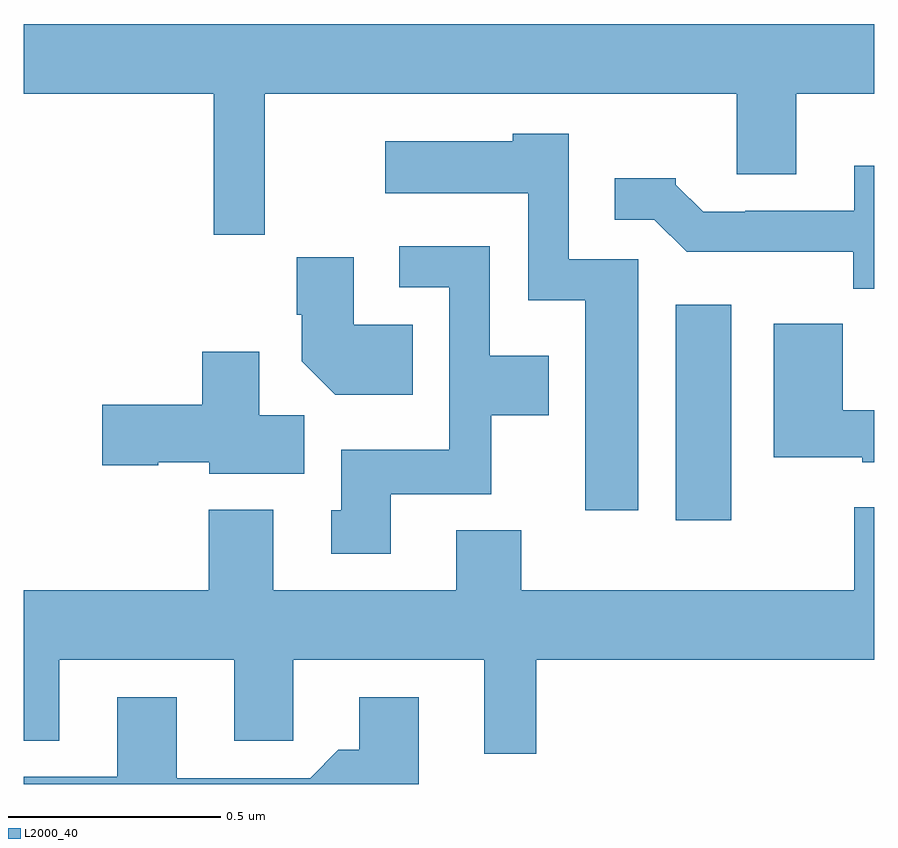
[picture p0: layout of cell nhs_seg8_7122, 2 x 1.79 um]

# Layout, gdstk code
import gdstk
lib = gdstk.Library(unit=1e-6, precision=1e-09)
def R(c, l, rs):  # rectangles x0, y0, x1, y1
    for r in rs: c.add(gdstk.rectangle(r[:2], r[2:], *l))
def P(c, l, *ps):  # polygons
    for p in ps: c.add(gdstk.Polygon(p, *l))
L2000_40 = (2000, 40)

nhs_seg8_7122 = lib.new_cell('nhs_seg8_7122')
R(nhs_seg8_7122, L2000_40, [(207.533,1091.52,207.664,1092.028)])
P(nhs_seg8_7122, L2000_40, [(206.567,1092.524),(207.677,1092.524),(207.677,1092.334),(207.817,1092.334),(207.817,1092.524),(208,1092.524),(208,1092.688),(206,1092.688),(206,1092.524),(206.446,1092.524),(206.446,1092.192),(206.567,1092.192)],
  [(207.445,1092.135),(207.282,1092.135),(207.282,1092.43),(207.15,1092.43),(207.15,1092.412),(206.85,1092.412),(206.85,1092.29),(207.186,1092.29),(207.186,1092.038),(207.32,1092.038),(207.32,1091.544),(207.445,1091.544)],
  [(208,1092.355),(207.953,1092.355),(207.953,1092.249),(207.697,1092.249),(207.697,1092.246),(207.598,1092.246),(207.534,1092.31),(207.534,1092.325),(207.39,1092.325),(207.39,1092.228),(207.483,1092.228),(207.559,1092.152),(207.951,1092.152),(207.951,1092.065),(208,1092.065)],
  [(206.863,1091.582),(207.099,1091.582),(207.099,1091.768),(207.235,1091.768),(207.235,1091.908),(207.096,1091.908),(207.096,1092.165),(206.883,1092.165),(206.883,1092.069),(207,1092.069),(207,1091.686),(206.747,1091.686),(206.747,1091.544),(206.723,1091.544),(206.723,1091.442),(206.863,1091.442)],
  [(206.915,1091.98),(206.776,1091.98),(206.776,1092.139),(206.642,1092.139),(206.642,1092.004),(206.654,1092.004),(206.654,1091.894),(206.732,1091.816),(206.915,1091.816)],
  [(208,1091.779),(207.926,1091.779),(207.926,1091.983),(207.764,1091.983),(207.764,1091.669),(207.972,1091.669),(207.972,1091.657),(208,1091.657)],
  [(206.659,1091.768),(206.554,1091.768),(206.554,1091.917),(206.42,1091.917),(206.42,1091.792),(206.184,1091.792),(206.184,1091.65),(206.316,1091.65),(206.316,1091.657),(206.436,1091.657),(206.436,1091.63),(206.659,1091.63)],
  [(207.205,1091.192),(208,1091.192),(208,1091.551),(207.953,1091.551),(207.953,1091.356),(207.17,1091.356),(207.17,1091.497),(207.017,1091.497),(207.017,1091.356),(206.587,1091.356),(206.587,1091.545),(206.435,1091.545),(206.435,1091.356),(206,1091.356),(206,1091.002),(206.083,1091.002),(206.083,1091.192),(206.495,1091.192),(206.495,1091.002),(206.634,1091.002),(206.634,1091.192),(207.083,1091.192),(207.083,1090.971),(207.205,1090.971)],
  [(206.929,1091.104),(206.789,1091.104),(206.789,1090.981),(206.74,1090.981),(206.673,1090.914),(206.359,1090.914),(206.359,1091.104),(206.219,1091.104),(206.219,1090.917),(206,1090.917),(206,1090.9),(206.929,1090.9)])

lib.write_gds('nhs_seg8_7122.gds')
